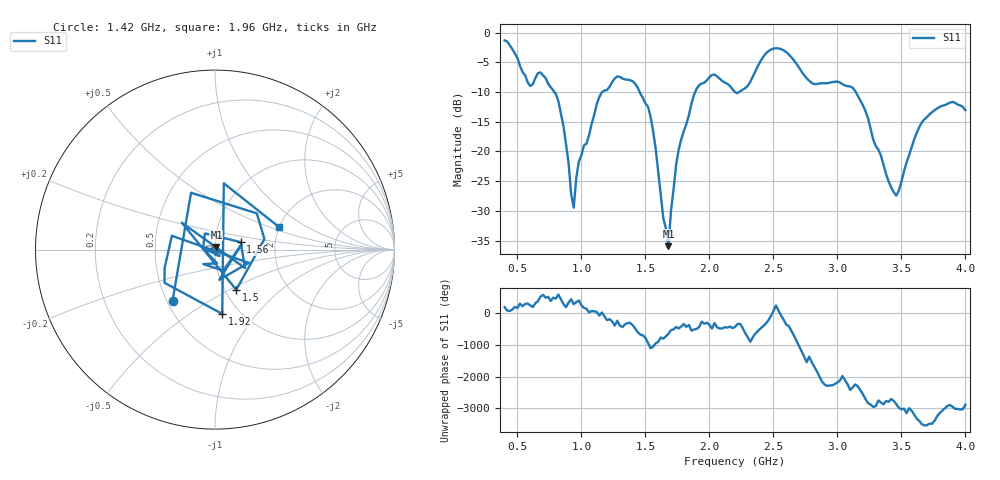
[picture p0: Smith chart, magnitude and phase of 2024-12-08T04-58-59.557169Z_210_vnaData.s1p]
!Created with skrf (http://scikit-rf.org).
# Hz S RI R 50.0
!freq ReS11 ImS11
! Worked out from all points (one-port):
!   181 points, 400 MHz to 4 GHz, reference 50 ohm
!   lowest |S11| = -35.9 dB at 1.68 GHz (marker M1), VSWR 1.03, Z = 50.8 + j1.42 ohm
!   |S11| at or under -10 dB: 788.7 MHz to 1.163 GHz (374.4 MHz wide, 38.4 % of centre); 1.455 GHz to 1.889 GHz (434 MHz wide, 26 % of centre); 3.143 GHz to end of sweep (the widest 3 of 4)
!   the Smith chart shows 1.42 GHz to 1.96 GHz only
!   S11 on the Smith chart (normalised r, x): 1.42 GHz: 0.54, -0.35; 1.5 GHz: 1.13, -0.54; 1.56 GHz: 1.33, +0.11; 1.92 GHz: 0.83, -0.68; 1.96 GHz: 2.00, +0.59
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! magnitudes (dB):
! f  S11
! 400 MHz  -1.3
! 600 MHz  -9.0
! 720 MHz  -7.6
! 800 MHz  -10.3
! 860 MHz  -15.8
! 940 MHz  -29.5
! 980 MHz  -21.7
! 1.12 GHz  -12.0
! 1.3 GHz  -7.4
! 1.42 GHz  -8.6
! 1.5 GHz  -11.9
! 1.56 GHz  -16.5
! 1.68 GHz  -35.9
! 1.7 GHz  -30.0
! 1.76 GHz  -19.7
! 1.92 GHz  -8.9
! 1.96 GHz  -8.4
! 2.04 GHz  -7.1
! 2.2 GHz  -10.0
! 2.48 GHz  -2.9
! 2.66 GHz  -4.7
! 2.8 GHz  -8.5
! 3.1 GHz  -9.1
! 3.22 GHz  -13.2
! 3.46 GHz  -27.4
! 3.56 GHz  -20.7
! 3.74 GHz  -13.4
! 4 GHz  -13.1
